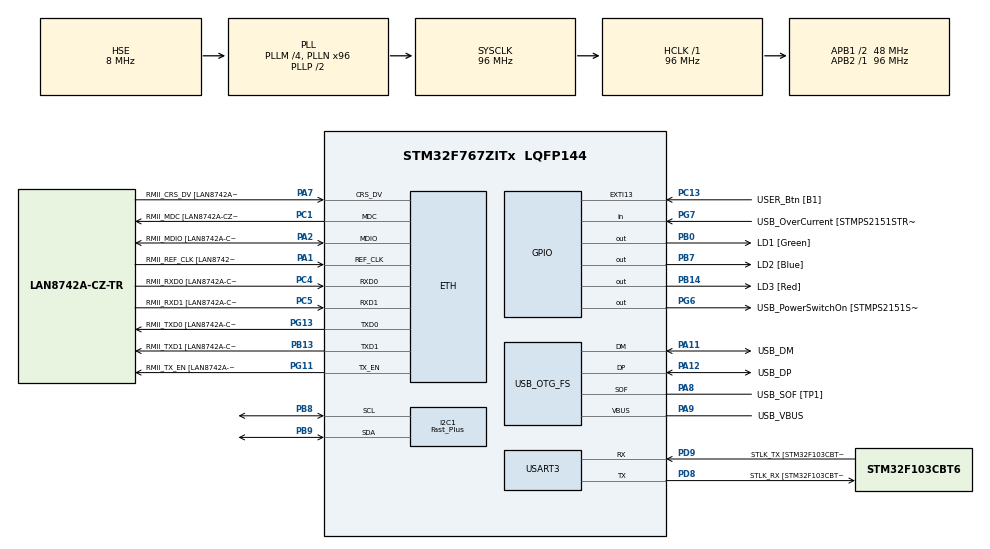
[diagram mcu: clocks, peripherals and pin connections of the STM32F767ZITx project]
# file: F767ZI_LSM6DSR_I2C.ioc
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ETH.MediaInterface=HAL_ETH_RMII_MODE
ETH.PHY_Name=LAN8742A_PHY_ADDRESS
ETH.PHY_Value=0
ETH.PhyAddress=0
I2C1.I2C_Speed_Mode=I2C_Fast_Plus
I2C1.Timing=0x20000209
Mcu.Family=STM32F7
Mcu.Name=STM32F767ZITx
Mcu.Package=LQFP144
NVIC.PriorityGroup=NVIC_PRIORITYGROUP_4
PA1.GPIO_Label=RMII_REF_CLK [LAN8742A-CZ-TR_REFCLK0]
PA1.Mode=RMII
PA1.Signal=ETH_REF_CLK
PA10.GPIO_Label=USB_ID
PA10.Signal=USB_OTG_FS_ID
PA11.GPIO_Label=USB_DM
PA11.Mode=Device_Only
PA11.Signal=USB_OTG_FS_DM
PA12.GPIO_Label=USB_DP
PA12.Mode=Device_Only
PA12.Signal=USB_OTG_FS_DP
PA13.GPIO_Label=TMS
PA13.Mode=Serial_Wire
PA13.Signal=SYS_JTMS-SWDIO
PA14.GPIO_Label=TCK
PA14.Mode=Serial_Wire
PA14.Signal=SYS_JTCK-SWCLK
PA2.GPIO_Label=RMII_MDIO [LAN8742A-CZ-TR_MDIO]
PA2.Mode=RMII
PA2.Signal=ETH_MDIO
PA7.GPIO_Label=RMII_CRS_DV [LAN8742A-CZ-TR_CRS_DV]
PA7.Mode=RMII
PA7.Signal=ETH_CRS_DV
PA8.GPIO_Label=USB_SOF [TP1]
PA8.Mode=Activate_SOF_FS
PA8.Signal=USB_OTG_FS_SOF
PA9.GPIO_Label=USB_VBUS
PA9.Mode=Activate_VBUS
PA9.Signal=USB_OTG_FS_VBUS
PB0.GPIO_Label=LD1 [Green]
PB0.Signal=GPIO_Output
PB13.GPIO_Label=RMII_TXD1 [LAN8742A-CZ-TR_TXD1]
PB13.Mode=RMII
PB13.Signal=ETH_TXD1
PB14.GPIO_Label=LD3 [Red]
PB14.Signal=GPIO_Output
PB3.GPIO_Label=SWO
PB3.Signal=SYS_JTDO-SWO
PB7.GPIO_Label=LD2 [Blue]
PB7.Signal=GPIO_Output
PB8.Mode=I2C
PB8.Signal=I2C1_SCL
PB9.Mode=I2C
PB9.Signal=I2C1_SDA
PC1.GPIO_Label=RMII_MDC [LAN8742A-CZ-TR_MDC]
PC1.Mode=RMII
PC1.Signal=ETH_MDC
PC13.GPIO_Label=USER_Btn [B1]
PC13.Signal=GPXTI13
PC14/OSC32_IN.Mode=LSE-External-Oscillator
PC14/OSC32_IN.Signal=RCC_OSC32_IN
PC15/OSC32_OUT.Mode=LSE-External-Oscillator
PC15/OSC32_OUT.Signal=RCC_OSC32_OUT
PC4.GPIO_Label=RMII_RXD0 [LAN8742A-CZ-TR_RXD0]
PC4.Mode=RMII
PC4.Signal=ETH_RXD0
PC5.GPIO_Label=RMII_RXD1 [LAN8742A-CZ-TR_RXD1]
PC5.Mode=RMII
PC5.Signal=ETH_RXD1
PD8.GPIO_Label=STLK_RX [STM32F103CBT6_PA3]
PD8.Mode=Asynchronous
PD8.Signal=USART3_TX
PD9.GPIO_Label=STLK_TX [STM32F103CBT6_PA2]
PD9.Mode=Asynchronous
PD9.Signal=USART3_RX
PG11.GPIO_Label=RMII_TX_EN [LAN8742A-CZ-TR_TXEN]
PG11.Mode=RMII
PG11.Signal=ETH_TX_EN
PG13.GPIO_Label=RMII_TXD0 [LAN8742A-CZ-TR_TXD0]
PG13.Mode=RMII
PG13.Signal=ETH_TXD0
PG6.GPIO_Label=USB_PowerSwitchOn [STMPS2151STR_EN]
PG6.Signal=GPIO_Output
PG7.GPIO_Label=USB_OverCurrent [STMPS2151STR_FAULT]
PG7.Signal=GPIO_Input
PH0/OSC_IN.GPIO_Label=MCO [STM32F103CBT6_PA8]
PH0/OSC_IN.Mode=HSE-External-Clock-Source
PH0/OSC_IN.Signal=RCC_OSC_IN
PH1/OSC_OUT.Mode=HSE-External-Clock-Source
PH1/OSC_OUT.Signal=RCC_OSC_OUT
ProjectManager.HeapSize=0x200
ProjectManager.StackSize=0x400
ProjectManager.TargetToolchain=STM32CubeIDE
RCC.48MHZClocksFreq_Value=24000000
RCC.AHBFreq_Value=96000000
RCC.APB1CLKDivider=RCC_HCLK_DIV2
RCC.APB1Freq_Value=48000000
RCC.APB1TimFreq_Value=96000000
RCC.APB2Freq_Value=96000000
RCC.APB2TimFreq_Value=96000000
RCC.CortexFreq_Value=96000000
RCC.HCLKFreq_Value=96000000
RCC.HSE_VALUE=8000000
RCC.HSI_VALUE=16000000
RCC.PLLM=4
RCC.PLLMUL=RCC_PLL_MUL9
RCC.PLLN=96
RCC.PLLQ=4
RCC.PRESCALERUSB=RCC_USBCLKSOURCE_PLL_DIV1_5
RCC.SYSCLKFreq_VALUE=96000000
RCC.SYSCLKSource=RCC_SYSCLKSOURCE_PLLCLK
RCC.SYSCLKSourceVirtual=RCC_SYSCLKSOURCE_PLLCLK
RCC.USBFreq_Value=48000000
RCC.VCOOutputFreq_Value=192000000
USART3.VirtualMode-Asynchronous=VM_ASYNC
USB_OTG_FS.VirtualMode=Device_Only
board=NUCLEO-F767ZI

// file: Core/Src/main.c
/* USER CODE BEGIN Header */
/**
  ******************************************************************************
  * @file           : main.c
  * @brief          : Main program body
  ******************************************************************************
  * @attention
  *
  * Copyright (c) 2023 STMicroelectronics.
  * All rights reserved.
  *
  * This software is licensed under terms that can be found in the LICENSE file
  * in the root directory of this software component.
  * If no LICENSE file comes with this software, it is provided AS-IS.
  *
  ******************************************************************************
  */
/* USER CODE END Header */
#include "main.h"
#include "string.h"

/* USER CODE BEGIN Includes */
#include "LSM6DSR_Driver.h"
/* USER CODE END Includes */

/* USER CODE BEGIN PD */
#define AA 10
/* USER CODE END PD */

#if defined ( __ICCARM__ ) /*!< IAR Compiler */
#pragma location=0x2007c000
ETH_DMADescTypeDef  DMARxDscrTab[ETH_RX_DESC_CNT]; /* Ethernet Rx DMA Descriptors */
#pragma location=0x2007c0a0
ETH_DMADescTypeDef  DMATxDscrTab[ETH_TX_DESC_CNT]; /* Ethernet Tx DMA Descriptors */

#elif defined ( __CC_ARM )  /* MDK ARM Compiler */

__attribute__((at(0x2007c000))) ETH_DMADescTypeDef  DMARxDscrTab[ETH_RX_DESC_CNT]; /* Ethernet Rx DMA Descriptors */
__attribute__((at(0x2007c0a0))) ETH_DMADescTypeDef  DMATxDscrTab[ETH_TX_DESC_CNT]; /* Ethernet Tx DMA Descriptors */

#elif defined ( __GNUC__ ) /* GNU Compiler */
ETH_DMADescTypeDef DMARxDscrTab[ETH_RX_DESC_CNT] __attribute__((section(".RxDecripSection"))); /* Ethernet Rx DMA Descriptors */
ETH_DMADescTypeDef DMATxDscrTab[ETH_TX_DESC_CNT] __attribute__((section(".TxDecripSection")));   /* Ethernet Tx DMA Descriptors */

#endif

ETH_TxPacketConfig TxConfig;

ETH_HandleTypeDef heth;

I2C_HandleTypeDef hi2c1;

UART_HandleTypeDef huart3;

PCD_HandleTypeDef hpcd_USB_OTG_FS;

void SystemClock_Config(void);
static void MX_GPIO_Init(void);
static void MX_ETH_Init(void);
static void MX_USART3_UART_Init(void);
static void MX_USB_OTG_FS_PCD_Init(void);
static void MX_I2C1_Init(void);

/* USER CODE BEGIN 0 */
float res=0.0;
float res1=0.0;
float res2=0.0;
/* USER CODE END 0 */

int main(void)
{

  /* MCU Configuration--------------------------------------------------------*/

  /* Reset of all peripherals, Initializes the Flash interface and the Systick. */
  HAL_Init();

  /* Configure the system clock */
  SystemClock_Config();

  /* Initialize all configured peripherals */
  MX_GPIO_Init();
  MX_ETH_Init();
  MX_USART3_UART_Init();
  MX_USB_OTG_FS_PCD_Init();
  MX_I2C1_Init();
  /* USER CODE BEGIN 2 */
  uint8_t whoamI = 0;

  HAL_Delay(100);

  if( HAL_I2C_Mem_Read(&hi2c1, 0xD7, 0x0F, 1, &whoamI, 1, 500) != HAL_OK && whoamI!=0x6B)
  {
	  Error_Handler();
  }

  LSM6DSR acc;
  if (LSM6DSR_Initialise(&acc, &hi2c1)>1)
  {
	  Error_Handler();
  }

  float t0[AA];
  float t1[AA];
  float t2[AA];

  /* USER CODE END 2 */

  /* Infinite loop */
  /* USER CODE BEGIN WHILE */

  while (1)
  {

		//((float) tempRaw / 480.0f) + 42.5f;
// faire sur plusieur moyen

	 LSM6DSR_Read_Temperature(&acc);
	 LSM6DSR_Read_Acceleration(&acc);

	 res=0.0f;
	 res1=0.0f;
	 res2=0.0f;
	 for (int i=0;i<AA;++i)
	 {

		 LSM6DSR_Read_Gyroscope(&acc);
		 t0[i]=acc.gyro[0];
		 t1[i]=acc.gyro[1];
		 t2[i]=acc.gyro[2];
		 HAL_Delay(10);
	 }

	 for (int i=0;i<AA;++i)
		 {
			 res+=t0[i];
			 res1+=t1[i];
			 res2+=t2[i];

		 }
	 	 res/=(float)AA;
	 	res1/=(float)AA;
	 	res2/=(float)AA;

	 	HAL_Delay(100);

    /* USER CODE END WHILE */

  }
}

void SystemClock_Config(void)
{
  RCC_OscInitTypeDef RCC_OscInitStruct = {0};
  RCC_ClkInitTypeDef RCC_ClkInitStruct = {0};

  /** Configure LSE Drive Capability
  */
  HAL_PWR_EnableBkUpAccess();

  /** Configure the main internal regulator output voltage
  */
  __HAL_RCC_PWR_CLK_ENABLE();
  __HAL_PWR_VOLTAGESCALING_CONFIG(PWR_REGULATOR_VOLTAGE_SCALE3);

  /** Initializes the RCC Oscillators according to the specified parameters
  * in the RCC_OscInitTypeDef structure.
  */
  RCC_OscInitStruct.OscillatorType = RCC_OSCILLATORTYPE_HSE;
  RCC_OscInitStruct.HSEState = RCC_HSE_BYPASS;
  RCC_OscInitStruct.PLL.PLLState = RCC_PLL_ON;
  RCC_OscInitStruct.PLL.PLLSource = RCC_PLLSOURCE_HSE;
  RCC_OscInitStruct.PLL.PLLM = 4;
  RCC_OscInitStruct.PLL.PLLN = 96;
  RCC_OscInitStruct.PLL.PLLP = RCC_PLLP_DIV2;
  RCC_OscInitStruct.PLL.PLLQ = 4;
  RCC_OscInitStruct.PLL.PLLR = 2;
  if (HAL_RCC_OscConfig(&RCC_OscInitStruct) != HAL_OK)
  {
    Error_Handler();
  }

  /** Activate the Over-Drive mode
  */
  if (HAL_PWREx_EnableOverDrive() != HAL_OK)
  {
    Error_Handler();
  }

  /** Initializes the CPU, AHB and APB buses clocks
  */
  RCC_ClkInitStruct.ClockType = RCC_CLOCKTYPE_HCLK|RCC_CLOCKTYPE_SYSCLK
                              |RCC_CLOCKTYPE_PCLK1|RCC_CLOCKTYPE_PCLK2;
  RCC_ClkInitStruct.SYSCLKSource = RCC_SYSCLKSOURCE_PLLCLK;
  RCC_ClkInitStruct.AHBCLKDivider = RCC_SYSCLK_DIV1;
  RCC_ClkInitStruct.APB1CLKDivider = RCC_HCLK_DIV2;
  RCC_ClkInitStruct.APB2CLKDivider = RCC_HCLK_DIV1;

  if (HAL_RCC_ClockConfig(&RCC_ClkInitStruct, FLASH_LATENCY_3) != HAL_OK)
  {
    Error_Handler();
  }
}

static void MX_ETH_Init(void)
{

   static uint8_t MACAddr[6];

  heth.Instance = ETH;
  MACAddr[0] = 0x00;
  MACAddr[1] = 0x80;
  MACAddr[2] = 0xE1;
  MACAddr[3] = 0x00;
  MACAddr[4] = 0x00;
  MACAddr[5] = 0x00;
  heth.Init.MACAddr = &MACAddr[0];
  heth.Init.MediaInterface = HAL_ETH_RMII_MODE;
  heth.Init.TxDesc = DMATxDscrTab;
  heth.Init.RxDesc = DMARxDscrTab;
  heth.Init.RxBuffLen = 1524;

  if (HAL_ETH_Init(&heth) != HAL_OK)
  {
    Error_Handler();
  }

  memset(&TxConfig, 0 , sizeof(ETH_TxPacketConfig));
  TxConfig.Attributes = ETH_TX_PACKETS_FEATURES_CSUM | ETH_TX_PACKETS_FEATURES_CRCPAD;
  TxConfig.ChecksumCtrl = ETH_CHECKSUM_IPHDR_PAYLOAD_INSERT_PHDR_CALC;
  TxConfig.CRCPadCtrl = ETH_CRC_PAD_INSERT;

}

static void MX_I2C1_Init(void)
{

  hi2c1.Instance = I2C1;
  hi2c1.Init.Timing = 0x20000209;
  hi2c1.Init.OwnAddress1 = 0;
  hi2c1.Init.AddressingMode = I2C_ADDRESSINGMODE_7BIT;
  hi2c1.Init.DualAddressMode = I2C_DUALADDRESS_DISABLE;
  hi2c1.Init.OwnAddress2 = 0;
  hi2c1.Init.OwnAddress2Masks = I2C_OA2_NOMASK;
  hi2c1.Init.GeneralCallMode = I2C_GENERALCALL_DISABLE;
  hi2c1.Init.NoStretchMode = I2C_NOSTRETCH_DISABLE;
  if (HAL_I2C_Init(&hi2c1) != HAL_OK)
  {
    Error_Handler();
  }

  /** Configure Analogue filter
  */
  if (HAL_I2CEx_ConfigAnalogFilter(&hi2c1, I2C_ANALOGFILTER_ENABLE) != HAL_OK)
  {
    Error_Handler();
  }

  /** Configure Digital filter
  */
  if (HAL_I2CEx_ConfigDigitalFilter(&hi2c1, 0) != HAL_OK)
  {
    Error_Handler();
  }

  /** I2C Enable Fast Mode Plus
  */
  HAL_I2CEx_EnableFastModePlus(I2C_FASTMODEPLUS_I2C1);

}

static void MX_USART3_UART_Init(void)
{

  huart3.Instance = USART3;
  huart3.Init.BaudRate = 115200;
  huart3.Init.WordLength = UART_WORDLENGTH_8B;
  huart3.Init.StopBits = UART_STOPBITS_1;
  huart3.Init.Parity = UART_PARITY_NONE;
  huart3.Init.Mode = UART_MODE_TX_RX;
  huart3.Init.HwFlowCtl = UART_HWCONTROL_NONE;
  huart3.Init.OverSampling = UART_OVERSAMPLING_16;
  huart3.Init.OneBitSampling = UART_ONE_BIT_SAMPLE_DISABLE;
  huart3.AdvancedInit.AdvFeatureInit = UART_ADVFEATURE_NO_INIT;
  if (HAL_UART_Init(&huart3) != HAL_OK)
  {
    Error_Handler();
  }

}

static void MX_USB_OTG_FS_PCD_Init(void)
{

  hpcd_USB_OTG_FS.Instance = USB_OTG_FS;
  hpcd_USB_OTG_FS.Init.dev_endpoints = 6;
  hpcd_USB_OTG_FS.Init.speed = PCD_SPEED_FULL;
  hpcd_USB_OTG_FS.Init.dma_enable = DISABLE;
  hpcd_USB_OTG_FS.Init.phy_itface = PCD_PHY_EMBEDDED;
  hpcd_USB_OTG_FS.Init.Sof_enable = ENABLE;
  hpcd_USB_OTG_FS.Init.low_power_enable = DISABLE;
  hpcd_USB_OTG_FS.Init.lpm_enable = DISABLE;
  hpcd_USB_OTG_FS.Init.vbus_sensing_enable = ENABLE;
  hpcd_USB_OTG_FS.Init.use_dedicated_ep1 = DISABLE;
  if (HAL_PCD_Init(&hpcd_USB_OTG_FS) != HAL_OK)
  {
    Error_Handler();
  }

}

static void MX_GPIO_Init(void)
{
  GPIO_InitTypeDef GPIO_InitStruct = {0};

  /* GPIO Ports Clock Enable */
  __HAL_RCC_GPIOC_CLK_ENABLE();
  __HAL_RCC_GPIOH_CLK_ENABLE();
  __HAL_RCC_GPIOA_CLK_ENABLE();
  __HAL_RCC_GPIOB_CLK_ENABLE();
  __HAL_RCC_GPIOD_CLK_ENABLE();
  __HAL_RCC_GPIOG_CLK_ENABLE();

  /*Configure GPIO pin Output Level */
  HAL_GPIO_WritePin(GPIOB, LD1_Pin|LD3_Pin|LD2_Pin, GPIO_PIN_RESET);

  /*Configure GPIO pin Output Level */
  HAL_GPIO_WritePin(USB_PowerSwitchOn_GPIO_Port, USB_PowerSwitchOn_Pin, GPIO_PIN_RESET);

  /*Configure GPIO pin : USER_Btn_Pin */
  GPIO_InitStruct.Pin = USER_Btn_Pin;
  GPIO_InitStruct.Mode = GPIO_MODE_IT_RISING;
  GPIO_InitStruct.Pull = GPIO_NOPULL;
  HAL_GPIO_Init(USER_Btn_GPIO_Port, &GPIO_InitStruct);

  /*Configure GPIO pins : LD1_Pin LD3_Pin LD2_Pin */
  GPIO_InitStruct.Pin = LD1_Pin|LD3_Pin|LD2_Pin;
  GPIO_InitStruct.Mode = GPIO_MODE_OUTPUT_PP;
  GPIO_InitStruct.Pull = GPIO_NOPULL;
  GPIO_InitStruct.Speed = GPIO_SPEED_FREQ_LOW;
  HAL_GPIO_Init(GPIOB, &GPIO_InitStruct);

  /*Configure GPIO pin : USB_PowerSwitchOn_Pin */
  GPIO_InitStruct.Pin = USB_PowerSwitchOn_Pin;
  GPIO_InitStruct.Mode = GPIO_MODE_OUTPUT_PP;
  GPIO_InitStruct.Pull = GPIO_NOPULL;
  GPIO_InitStruct.Speed = GPIO_SPEED_FREQ_LOW;
  HAL_GPIO_Init(USB_PowerSwitchOn_GPIO_Port, &GPIO_InitStruct);

  /*Configure GPIO pin : USB_OverCurrent_Pin */
  GPIO_InitStruct.Pin = USB_OverCurrent_Pin;
  GPIO_InitStruct.Mode = GPIO_MODE_INPUT;
  GPIO_InitStruct.Pull = GPIO_NOPULL;
  HAL_GPIO_Init(USB_OverCurrent_GPIO_Port, &GPIO_InitStruct);

}

void Error_Handler(void)
{
  __disable_irq();
  while (1)
  {
  }
}
